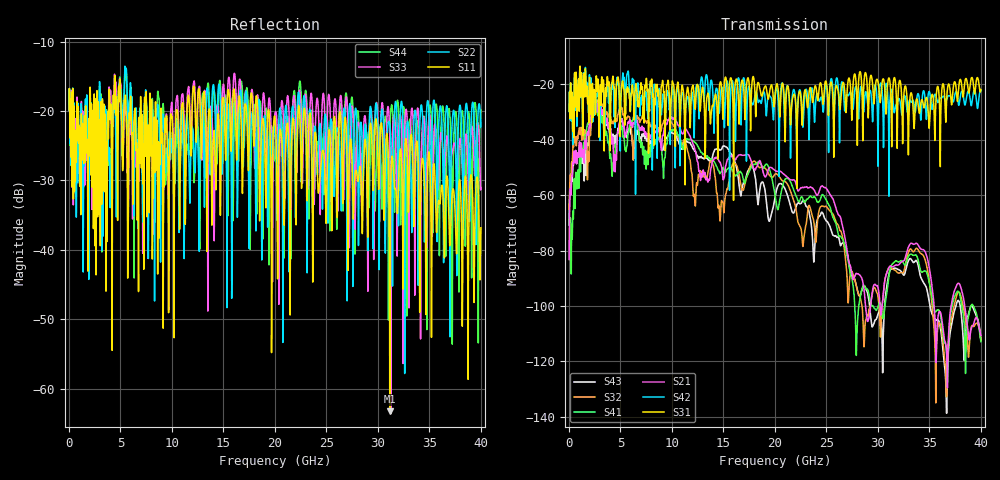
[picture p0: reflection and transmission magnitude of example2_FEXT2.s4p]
! File created by SignalIntegrity v1.2.0: Signal and Power Integrity Tools
! https://github.com/TeledyneLeCroy/SignalIntegrity
# MHz S MA R 50.0
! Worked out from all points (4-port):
!   4000 points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, 10 MHz to 40 GHz, reference 50 ohm
!   strongest paths, dB at 10 MHz, 10.01 GHz, 20.01 GHz, 30.01 GHz, 40 GHz:
!     S31: -29.8, -19.3, -24.5, -19.2, -22.0
!     S42: -29.9, -21.7, -23.7, -49.6, -22.4
!     S21: -83.3, -32.5, -51.1, -93.4, -110.6
!     S41: -68.8, -36.9, -60.0, -100.3, -112.9
!     S32: -65.2, -34.3, -52.5, -96.7, -112.2
!     S43: -70.8, -37.6, -60.8, -103.0, -112.3
!   lowest |S11| = -63.2 dB at 31.15 GHz (marker M1), VSWR 1.00, Z = 50.1 + j0.0371 ohm
!   |S11| at or under -10 dB: start of sweep to end of sweep
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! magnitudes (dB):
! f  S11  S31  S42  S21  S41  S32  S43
! 10 MHz  -19.8  -29.8  -29.9  -83.3  -68.8  -65.2  -70.8
! 500 MHz  -22.0  -21.9  -22.3  -44.3  -54.5  -39.7  -44.5
! 2.73 GHz  -17.4  -22.2  -23.8  -27.2  -27.9  -25.8  -28.3
! 4.24 GHz  -23.9  -17.4  -21.6  -39.1  -50.0  -33.9  -38.2
! 6.4 GHz  -19.7  -22.9  -29.8  -33.2  -31.5  -36.1  -41.8
! 31.15 GHz  -63.2  -18.8  -27.4  -85.7  -87.4  -85.9  -87.4
! 40 GHz  -36.8  -22.0  -22.4  -110.6  -112.9  -112.2  -112.3
